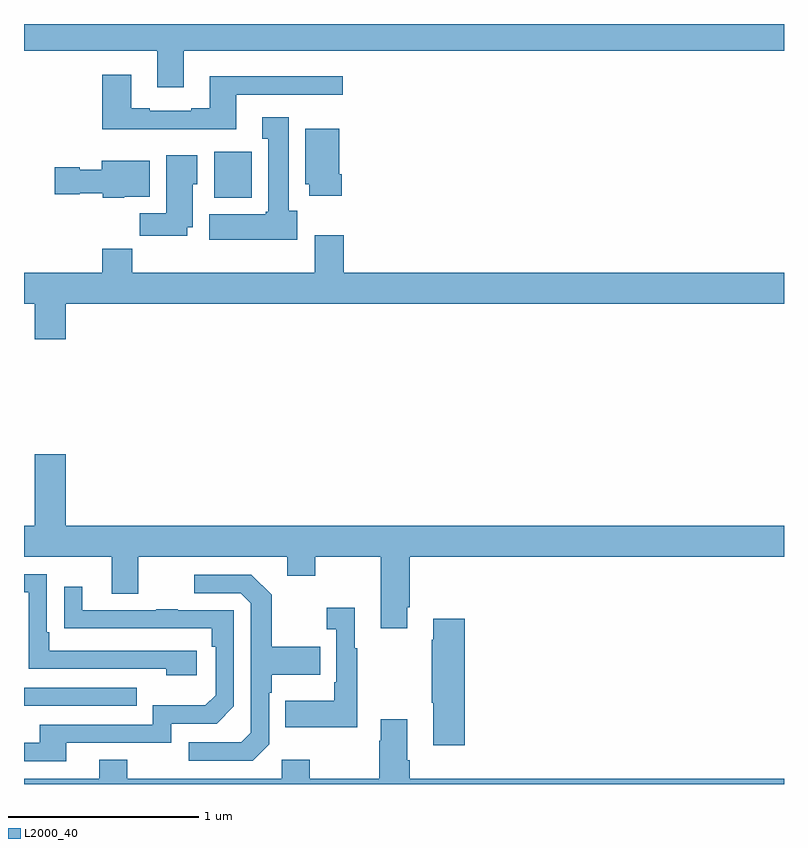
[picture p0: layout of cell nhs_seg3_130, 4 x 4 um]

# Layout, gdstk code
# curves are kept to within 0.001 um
import gdstk
lib = gdstk.Library(unit=1e-6, precision=1e-09)
def R(c, l, rs):  # rectangles x0, y0, x1, y1
    for r in rs: c.add(gdstk.rectangle(r[:2], r[2:], *l))
def P(c, l, *ps):  # polygons
    for p in ps: c.add(gdstk.Polygon(p, *l))
L2000_40 = (2000, 40)

nhs_seg3_130 = lib.new_cell('nhs_seg3_130')
R(nhs_seg3_130, L2000_40, [(117,686.811,117.593,686.907), (118.001,689.486,118.198,689.728)])
P(nhs_seg3_130, L2000_40, [(117.841,690.26),(121,690.26),(121,690.4),(117,690.4),(117,690.26),(117.701,690.26),(117.701,690.066),(117.841,690.066)],
  [(118.117,690.027),(118.678,690.027),(118.678,690.124),(117.977,690.124),(117.977,689.956),(117.881,689.956),(117.881,689.943),(117.661,689.943),(117.661,689.956),(117.565,689.956),(117.565,690.133),(117.413,690.133),(117.413,689.846),(118.117,689.846)],
  [(118.438,689.418),(118.393,689.418),(118.393,689.908),(118.253,689.908),(118.253,689.795),(118.286,689.795),(118.286,689.412),(118.273,689.412),(118.273,689.398),(117.974,689.398),(117.974,689.264),(118.438,689.264)],
  [(118.673,689.608),(118.66,689.608),(118.66,689.848),(118.481,689.848),(118.481,689.556),(118.502,689.556),(118.502,689.496),(118.673,689.496)],
  [(117.859,689.33),(117.889,689.33),(117.889,689.556),(117.913,689.556),(117.913,689.71),(117.749,689.71),(117.749,689.404),(117.61,689.404),(117.61,689.286),(117.859,689.286)],
  [(117.528,689.492),(117.661,689.492),(117.661,689.68),(117.41,689.68),(117.41,689.632),(117.294,689.632),(117.294,689.645),(117.162,689.645),(117.162,689.503),(117.294,689.503),(117.294,689.51),(117.414,689.51),(117.414,689.486),(117.528,689.486)],
  [(117.22,688.928),(121,688.928),(121,689.092),(118.682,689.092),(118.682,689.287),(118.529,689.287),(118.529,689.092),(117.569,689.092),(117.569,689.216),(117.413,689.216),(117.413,689.092),(117,689.092),(117,688.928),(117.056,688.928),(117.056,688.74),(117.22,688.74)],
  [(119.017,687.331),(119.03,687.331),(119.03,687.596),(121,687.596),(121,687.76),(117.22,687.76),(117.22,688.135),(117.056,688.135),(117.056,687.76),(117,687.76),(117,687.596),(117.461,687.596),(117.461,687.402),(117.601,687.402),(117.601,687.596),(118.385,687.596),(118.385,687.497),(118.533,687.497),(118.533,687.596),(118.877,687.596),(118.877,687.219),(119.017,687.219)],
  [(117.91,687.102),(117.133,687.102),(117.133,687.199),(117.12,687.199),(117.12,687.504),(117,687.504),(117,687.408),(117.024,687.408),(117.024,687.006),(117.749,687.006),(117.749,686.972),(117.91,686.972)],
  [(118.29,686.61),(118.29,686.879),(118.303,686.879),(118.303,686.975),(118.559,686.975),(118.559,687.123),(118.303,687.123),(118.303,687.395),(118.197,687.501),(117.897,687.501),(117.897,687.405),(118.14,687.405),(118.194,687.351),(118.194,686.67),(118.143,686.619),(117.867,686.619),(117.867,686.523),(118.203,686.523)],
  [(117.223,686.616),(117.774,686.616),(117.774,686.718),(118.014,686.718),(118.104,686.808),(118.104,687.315),(117.809,687.315),(117.809,687.32),(117.697,687.32),(117.697,687.315),(117.307,687.315),(117.307,687.439),(117.211,687.439),(117.211,687.22),(117.988,687.219),(117.988,687.122),(118.008,687.122),(118.008,686.868),(117.955,686.815),(117.678,686.815),(117.678,686.712),(117.083,686.712),(117.083,686.616),(117,686.616),(117,686.52),(117.223,686.52)],
  [(118.753,687.115),(118.741,687.115),(118.741,687.328),(118.593,687.328),(118.593,687.215),(118.644,687.215),(118.644,686.935),(118.632,686.935),(118.632,686.839),(118.375,686.839),(118.375,686.699),(118.753,686.699)],
  [(119.321,687.271),(119.153,687.271),(119.153,687.158),(119.146,687.158),(119.146,686.827),(119.153,686.827),(119.153,686.604),(119.321,686.604)],
  [(121,686.428),(119.03,686.428),(119.03,686.524),(119.017,686.524),(119.017,686.74),(118.877,686.74),(118.877,686.627),(118.87,686.627),(118.87,686.428),(118.503,686.428),(118.503,686.527),(118.356,686.527),(118.356,686.428),(117.543,686.428),(117.543,686.527),(117.395,686.527),(117.395,686.428),(117,686.428),(117,686.4),(121,686.4)])

lib.write_gds('nhs_seg3_130.gds')
